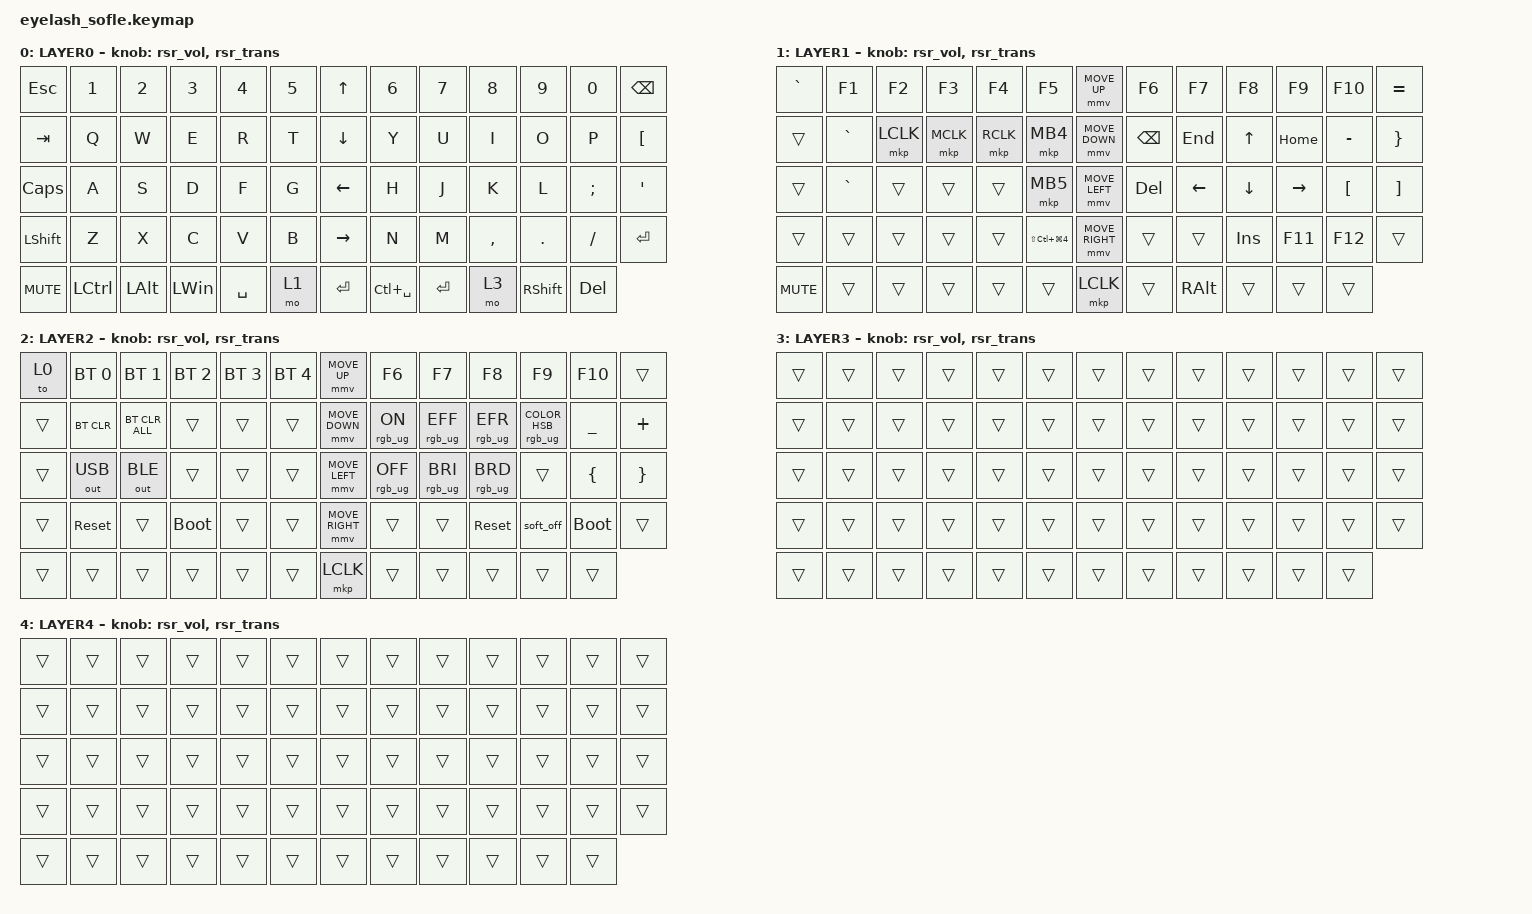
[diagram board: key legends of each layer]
#define ZMK_POINTING_DEFAULT_MOVE_VAL 1200  // 600
#define ZMK_POINTING_DEFAULT_SCRL_VAL 25   // 10

#include <input/processors.dtsi>
#include <zephyr/dt-bindings/input/input-event-codes.h>
#include <behaviors/runtime-sensor-rotate.dtsi>
#include <behaviors.dtsi>
#include <dt-bindings/zmk/bt.h>
#include <dt-bindings/zmk/keys.h>
#include <dt-bindings/zmk/outputs.h>
#include <dt-bindings/zmk/pointing.h>
#include <dt-bindings/zmk/rgb.h>

&mmv_input_listener { input-processors = <&zip_xy_scaler 2 1>; };

&msc_input_listener { input-processors = <&zip_scroll_scaler 2 1>; };

&msc {
    acceleration-exponent = <1>;      // 0
    time-to-max-speed-ms = <100>;       // 300
    delay-ms = <0>;                   // 0
};

&mmv {
    time-to-max-speed-ms = <500>;
    acceleration-exponent = <1>;
    trigger-period-ms = <16>;
};

&soft_off { hold-time-ms = <2000>; };

/ {
    scroll_encoder: scroll_encoder {
        compatible = "zmk,behavior-sensor-rotate";
        #sensor-binding-cells = <0>;
        bindings = <&msc SCRL_DOWN>, <&msc SCRL_UP>;

        tap-ms = <100>;
    };

    behaviors {
        rsr_vol: rsr_vol {
            compatible = "zmk,behavior-runtime-sensor-rotate";
            #sensor-binding-cells = <0>;
            tap-ms = <5>;
            cw-binding = <&kp C_VOL_UP>;
            ccw-binding = <&kp C_VOL_DN>;
        };

        rsr_trans: rsr_trans {
            compatible = "zmk,behavior-runtime-sensor-rotate";
            #sensor-binding-cells = <0>;
            tap-ms = <0>;
        };
    };

    combos {
        compatible = "zmk,combos";

        softoff {
            bindings = <&soft_off>;
            key-positions = <14 28 40>;
        };

        service {
            bindings = <&to 2>;
            key-positions = <57 61>;
        };
    };

    macros {
        SHIFT_MCLK: SHIFT_MCLK {
            compatible = "zmk,behavior-macro";
            #binding-cells = <0>;
            bindings =
                <&macro_press>,
                <&kp LEFT_SHIFT>,
                <&macro_press>,
                <&mkp MB3>,
                <&macro_pause_for_release>,
                <&macro_release>,
                <&kp LEFT_SHIFT &mkp MB3>;

            label = "SHIFT_MCLK";
        };
    };

    keymap {
        compatible = "zmk,keymap";

        layer0 {
            bindings = <
&kp ESC     &kp N1     &kp N2        &kp N3        &kp N4     &kp N5    &kp UP_ARROW     &kp N6         &kp N7     &kp N8     &kp N9           &kp N0      &kp BACKSPACE
&kp TAB     &kp Q      &kp W         &kp E         &kp R      &kp T     &kp DOWN_ARROW   &kp Y          &kp U      &kp I      &kp O            &kp P       &kp LEFT_BRACKET
&kp CAPS    &kp A      &kp S         &kp D         &kp F      &kp G     &kp LEFT_ARROW   &kp H          &kp J      &kp K      &kp L            &kp SEMI    &kp APOS
&kp LSHFT   &kp Z      &kp X         &kp C         &kp V      &kp B     &kp RIGHT_ARROW  &kp N          &kp M      &kp COMMA  &kp DOT          &kp FSLH    &kp ENTER
&kp C_MUTE  &kp LCTRL  &kp LEFT_ALT  &kp LEFT_WIN  &kp SPACE  &mo 1     &kp ENTER        &kp LC(SPACE)  &kp ENTER  &mo 3      &kp RIGHT_SHIFT  &kp DELETE
            >;

            sensor-bindings = <&rsr_vol &rsr_trans>;
            display-name = "LAYER0";
        };

        layer_1 {
            bindings = <
&kp GRAVE   &kp F1     &kp F2     &kp F3     &kp F4     &kp F5                      &mmv MOVE_UP     &kp F6         &kp F7         &kp F8      &kp F9     &kp F10           &kp EQUAL
&trans      &kp GRAVE  &mkp LCLK  &mkp MCLK  &mkp RCLK  &mkp MB4                    &mmv MOVE_DOWN   &kp BACKSPACE  &kp END        &kp UP      &kp HOME   &kp MINUS         &kp RIGHT_BRACE
&trans      &kp GRAVE  &trans     &trans     &trans     &mkp MB5                    &mmv MOVE_LEFT   &kp DEL        &kp LEFT       &kp DOWN    &kp RIGHT  &kp LEFT_BRACKET  &kp RIGHT_BRACKET
&trans      &trans     &trans     &trans     &trans     &kp LS(LC(LG(NUMBER_4)))    &mmv MOVE_RIGHT  &trans         &trans         &kp INSERT  &kp F11    &kp F12           &trans
&kp C_MUTE  &trans     &trans     &trans     &trans     &trans                      &mkp LCLK        &trans         &kp RIGHT_ALT  &trans      &trans     &trans
            >;

            sensor-bindings = <&rsr_vol &rsr_trans>;
            display-name = "LAYER1";
        };

        layer_2 {
            bindings = <
&to 0   &bt BT_SEL 0  &bt BT_SEL 1    &bt BT_SEL 2  &bt BT_SEL 3  &bt BT_SEL 4    &mmv MOVE_UP     &kp F6           &kp F7           &kp F8           &kp F9                             &kp F10      &trans
&trans  &bt BT_CLR    &bt BT_CLR_ALL  &trans        &trans        &trans          &mmv MOVE_DOWN   &rgb_ug RGB_ON   &rgb_ug RGB_EFF  &rgb_ug RGB_EFR  &rgb_ug RGB_COLOR_HSB(190,100,50)  &kp UNDER    &kp PLUS
&trans  &out OUT_USB  &out OUT_BLE    &trans        &trans        &trans          &mmv MOVE_LEFT   &rgb_ug RGB_OFF  &rgb_ug RGB_BRI  &rgb_ug RGB_BRD  &trans                             &kp LBRC     &kp RBRC
&trans  &sys_reset    &trans          &bootloader   &trans        &trans          &mmv MOVE_RIGHT  &trans           &trans           &sys_reset       &soft_off                          &bootloader  &trans
&trans  &trans        &trans          &trans        &trans        &trans          &mkp LCLK        &trans           &trans           &trans           &trans                             &trans
            >;

            display-name = "LAYER2";
            sensor-bindings = <&rsr_vol &rsr_trans>;
        };

        layer_3 {
            bindings = <
&trans  &trans  &trans  &trans  &trans  &trans    &trans  &trans  &trans  &trans  &trans  &trans  &trans
&trans  &trans  &trans  &trans  &trans  &trans    &trans  &trans  &trans  &trans  &trans  &trans  &trans
&trans  &trans  &trans  &trans  &trans  &trans    &trans  &trans  &trans  &trans  &trans  &trans  &trans
&trans  &trans  &trans  &trans  &trans  &trans    &trans  &trans  &trans  &trans  &trans  &trans  &trans
&trans  &trans  &trans  &trans  &trans  &trans    &trans  &trans  &trans  &trans  &trans  &trans
            >;

            display-name = "LAYER3";
            sensor-bindings = <&rsr_vol &rsr_trans>;
        };

        layer_4 {
            bindings = <
&trans  &trans  &trans  &trans  &trans  &trans    &trans  &trans  &trans  &trans  &trans  &trans  &trans
&trans  &trans  &trans  &trans  &trans  &trans    &trans  &trans  &trans  &trans  &trans  &trans  &trans
&trans  &trans  &trans  &trans  &trans  &trans    &trans  &trans  &trans  &trans  &trans  &trans  &trans
&trans  &trans  &trans  &trans  &trans  &trans    &trans  &trans  &trans  &trans  &trans  &trans  &trans
&trans  &trans  &trans  &trans  &trans  &trans    &trans  &trans  &trans  &trans  &trans  &trans
            >;

            display-name = "LAYER4";
            sensor-bindings = <&rsr_vol &rsr_trans>;
        };
    };
};
